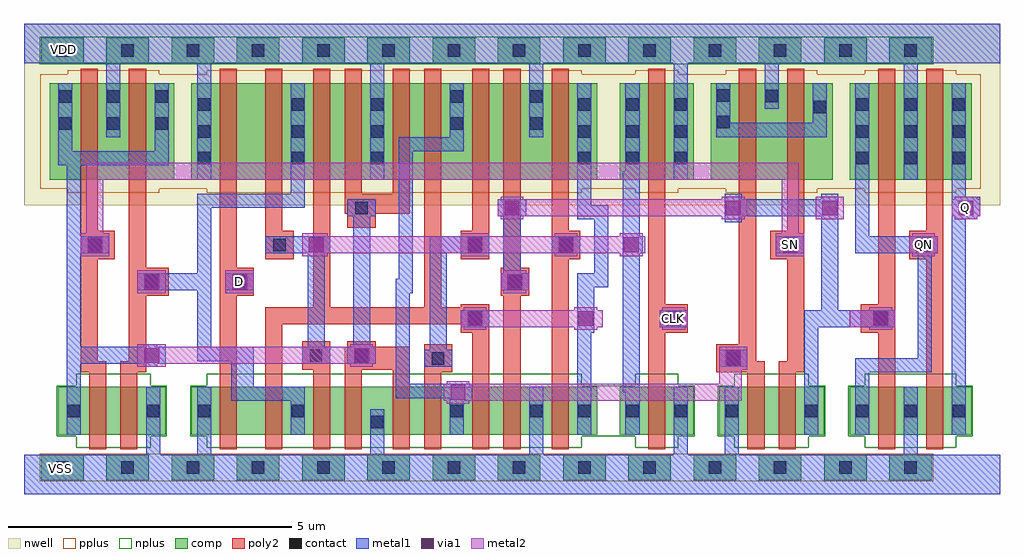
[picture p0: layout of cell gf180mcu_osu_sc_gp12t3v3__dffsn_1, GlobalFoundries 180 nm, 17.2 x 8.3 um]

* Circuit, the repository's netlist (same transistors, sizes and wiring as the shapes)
* Copyright 2022 Google LLC
*
* Licensed under the Apache License, Version 2.0 (the "License");
* you may not use this file except in compliance with the License.
* You may obtain a copy of the License at
*
*      http://www.apache.org/licenses/LICENSE-2.0
*
* Unless required by applicable law or agreed to in writing, software
* distributed under the License is distributed on an "AS IS" BASIS,
* WITHOUT WARRANTIES OR CONDITIONS OF ANY KIND, either express or implied.
* See the License for the specific language governing permissions and
* limitations under the License.

* NGSPICE file created from gf180mcu_osu_sc_gp12t3v3__dffsn_1.ext - technology: gf180mcuC

.subckt gf180mcu_osu_sc_gp12t3v3__dffsn_1 D Q QN CLK SN VDD VSS
X0 a_75_111# D VDD VDD pfet_03p3 w=1.7u l=0.3u
X1 VDD a_147_21# a_242_111# VDD pfet_03p3 w=1.7u l=0.3u
X2 a_242_111# SN VDD VDD pfet_03p3 w=1.7u l=0.3u
X3 VSS SN a_108_21# VSS nfet_03p3 w=0.85u l=0.3u
X4 VSS CLK a_85_83# VSS nfet_03p3 w=0.85u l=0.3u
X5 a_85_16# a_85_83# VSS VSS nfet_03p3 w=0.85u l=0.3u
X6 a_85_16# a_85_83# VDD VDD pfet_03p3 w=1.7u l=0.3u
X7 a_75_21# D VSS VSS nfet_03p3 w=0.85u l=0.3u
X8 VDD a_168_70# a_164_111# VDD pfet_03p3 w=1.7u l=0.3u
X9 Q QN VSS VSS nfet_03p3 w=0.85u l=0.3u
X10 VDD SN SN VDD pfet_03p3 w=1.7u l=0.3u
X11 SN a_34_16# VDD VDD pfet_03p3 w=1.7u l=0.3u
X12 a_147_21# a_85_16# a_136_111# VDD pfet_03p3 w=1.7u l=0.3u
X13 a_164_111# a_85_83# a_147_21# VDD pfet_03p3 w=1.7u l=0.3u
X14 VDD CLK a_85_83# VDD pfet_03p3 w=1.7u l=0.3u
X15 a_261_21# a_147_21# VSS VSS nfet_03p3 w=0.85u l=0.3u
X16 VSS a_168_70# QN VSS nfet_03p3 w=0.85u l=0.3u
X17 a_136_111# SN VDD VDD pfet_03p3 w=1.7u l=0.3u
X18 VDD SN a_108_111# VDD pfet_03p3 w=1.7u l=0.3u
X19 a_136_21# SN VSS VSS nfet_03p3 w=0.85u l=0.3u
X20 a_164_21# a_85_16# a_147_21# VSS nfet_03p3 w=0.85u l=0.3u
X21 a_168_70# SN a_261_21# VSS nfet_03p3 w=0.85u l=0.3u
X22 a_108_111# a_85_16# a_34_16# VDD pfet_03p3 w=1.7u l=0.3u
X23 a_147_21# a_85_83# a_136_21# VSS nfet_03p3 w=0.85u l=0.3u
X24 VSS a_168_70# a_164_21# VSS nfet_03p3 w=0.85u l=0.3u
X25 a_34_16# a_85_83# a_75_111# VDD pfet_03p3 w=1.7u l=0.3u
X26 a_29_21# SN SN VSS nfet_03p3 w=0.85u l=0.3u
X27 a_34_16# a_85_16# a_75_21# VSS nfet_03p3 w=0.85u l=0.3u
X28 VDD a_168_70# QN VDD pfet_03p3 w=1.7u l=0.3u
X29 Q QN VDD VDD pfet_03p3 w=1.7u l=0.3u
X30 VSS a_34_16# a_29_21# VSS nfet_03p3 w=0.85u l=0.3u
X31 a_108_21# a_85_83# a_34_16# VSS nfet_03p3 w=0.85u l=0.3u
.ends

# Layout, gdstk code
import gdstk
lib = gdstk.Library(unit=1e-6, precision=1e-09)
def R(c, l, rs):  # rectangles x0, y0, x1, y1
    for r in rs: c.add(gdstk.rectangle(r[:2], r[2:], *l))
def A(c, l, x, y, w, h, nx, ny, dx, dy):  # array of equal rectangles
    R(c, l, [(x+i*dx, y+j*dy, x+i*dx+w, y+j*dy+h) for i in range(nx) for j in range(ny)])
nwell = (21, 0)
comp = (22, 0)
poly2 = (30, 0)
pplus = (31, 0)
nplus = (32, 0)
contact = (33, 0)
metal1 = (34, 0)
via1 = (35, 0)
metal2 = (36, 0)

gf180mcu_osu_sc_gp12t3v3 = lib.new_cell('gf180mcu_osu_sc_gp12t3v3__dffsn_1')
R(gf180mcu_osu_sc_gp12t3v3, nwell, [(0,5.1,17.2,8.3)])
A(gf180mcu_osu_sc_gp12t3v3, comp, 0.3, 0.25, 0.75, 0.45, 14, 2, 1.15, 7.35)
R(gf180mcu_osu_sc_gp12t3v3, comp, [(0.6,1.05,2.5,1.9), (2.95,1.05,10.1,1.9), (10.5,1.05,11.8,1.9), (12.25,1.05,14.1,1.9), (14.55,1.05,16.7,1.9), (0.45,5.55,2.65,7.25), (2.95,5.55,10.1,7.25), (10.5,5.55,11.8,7.25), (12.1,5.55,14.25,7.25), (14.55,5.55,16.7,7.25)])
R(gf180mcu_osu_sc_gp12t3v3, poly2, [(1.15,0.8,1.45,2.15), (1.7,0.8,2,2.15), (3.45,0.8,3.75,3.5), (4.25,0.8,4.55,3), (5.1,0.8,5.4,2.2), (5.65,0.8,5.95,2.2), (6.5,0.8,6.8,2.2), (7.05,0.8,7.35,2.15), (7.9,0.8,8.2,2.85), (8.45,0.8,8.75,3.5), (9.3,0.8,9.6,4.15), (11,0.8,11.3,2.85), (12.75,0.8,13.05,2.15), (13.3,0.8,13.6,2.15), (15.05,0.8,15.35,2.85), (15.9,0.8,16.2,4.15), (1,2.15,1.45,2.35), (1.7,2.15,2.15,2.35), (7.05,2.15,7.55,2.65), (12.2,2.15,13.05,2.35), (13.3,2.15,13.75,2.35), (4.9,2.2,5.4,2.7), (5.65,2.2,6.8,2.6), (1,2.35,1.3,4.15), (1.85,2.35,2.15,3.5), (12.2,2.35,12.9,2.65), (13.45,2.35,13.75,4.15), (5.7,2.6,6.2,2.7), (12.6,2.65,12.9,7.5), (7.7,2.85,8.2,3), (11,2.85,11.7,3.35), (14.75,2.85,15.35,3.35), (4.25,3,8.2,3.3), (5.1,3.3,5.4,7.5), (7.05,3.3,7.35,7.5), (7.7,3.3,8.2,3.35), (11,3.35,11.3,7.5), (15.05,3.35,15.35,7.5), (1.85,3.5,2.55,4), (3.45,3.5,4.05,4), (8.4,3.5,8.9,4), (1.85,4,2.15,7.5), (3.45,4,3.75,7.5), (8.45,4,8.75,7.5), (1,4.15,1.6,4.65), (4.25,4.15,4.75,4.65), (7.7,4.15,8.2,4.65), (9.3,4.15,9.8,4.65), (13.15,4.15,13.75,4.65), (15.6,4.15,16.2,4.65), (1,4.65,1.3,7.5), (4.25,4.65,4.55,7.5), (7.9,4.65,8.2,7.5), (9.3,4.65,9.6,7.5), (13.45,4.65,13.75,7.5), (15.9,4.65,16.2,7.5), (5.7,4.7,6.2,4.95), (5.65,4.95,6.8,5.3), (5.65,5.3,5.95,7.5), (6.5,5.3,6.8,7.5)])
R(gf180mcu_osu_sc_gp12t3v3, pplus, [(0.28,0.23,16.02,0.72), (0.77,5.32,2.38,5.39), (3.22,5.32,9.83,5.39), (10.77,5.32,11.53,5.39), (12.37,5.32,13.98,5.39), (14.82,5.32,16.43,5.39), (0.29,5.39,16.86,7.41), (0.77,7.41,2.38,7.48), (3.22,7.41,9.83,7.48), (10.77,7.41,11.53,7.48), (12.37,7.41,13.98,7.48), (14.82,7.41,16.43,7.48)])
R(gf180mcu_osu_sc_gp12t3v3, nplus, [(0.92,0.82,2.23,1.03), (3.22,0.82,9.83,1.03), (10.77,0.82,11.53,1.03), (12.52,0.82,13.83,1.03), (14.82,0.82,16.43,1.03), (0.58,1.03,2.52,1.92), (2.93,1.03,11.82,1.92), (12.23,1.03,14.12,1.92), (14.53,1.03,16.72,1.92), (0.92,1.92,2.23,2.13), (3.22,1.92,9.83,2.13), (10.77,1.92,11.53,2.13), (12.52,1.92,13.83,2.13), (14.82,1.92,16.43,2.13), (0.28,7.58,16.02,8.07)])
A(gf180mcu_osu_sc_gp12t3v3, contact, 0.565, 0.365, 0.22, 0.22, 14, 2, 1.15, 7.35)
A(gf180mcu_osu_sc_gp12t3v3, contact, 8.915, 1.365, 0.22, 0.22, 4, 1, 0.85, 0)
A(gf180mcu_osu_sc_gp12t3v3, contact, 14.665, 1.365, 0.22, 0.22, 3, 2, 0.85, 4.455)
A(gf180mcu_osu_sc_gp12t3v3, contact, 3.065, 5.82, 0.22, 0.22, 1, 3, 0, 0.47)
A(gf180mcu_osu_sc_gp12t3v3, contact, 4.715, 5.82, 0.22, 0.22, 1, 3, 0, 0.47)
A(gf180mcu_osu_sc_gp12t3v3, contact, 6.115, 5.82, 0.22, 0.22, 1, 3, 0, 0.47)
A(gf180mcu_osu_sc_gp12t3v3, contact, 9.765, 5.82, 0.22, 0.22, 3, 3, 0.85, 0.47)
A(gf180mcu_osu_sc_gp12t3v3, contact, 14.665, 6.29, 0.22, 0.22, 3, 2, 0.85, 0.47)
A(gf180mcu_osu_sc_gp12t3v3, contact, 0.615, 6.43, 0.22, 0.22, 3, 2, 0.85, 0.47)
R(gf180mcu_osu_sc_gp12t3v3, contact, [(6.115,1.165,6.335,1.385), (0.765,1.365,0.985,1.585), (2.165,1.365,2.385,1.585), (3.065,1.365,3.285,1.585), (4.715,1.365,4.935,1.585), (7.515,1.365,7.735,1.585), (12.365,1.365,12.585,1.585), (13.765,1.365,13.985,1.585), (7.19,2.29,7.41,2.51), (12.39,2.29,12.61,2.51), (5.04,2.34,5.26,2.56), (5.84,2.34,6.06,2.56), (7.84,2.99,8.06,3.21), (11.34,2.99,11.56,3.21), (14.99,2.99,15.21,3.21), (2.14,3.64,2.36,3.86), (3.69,3.64,3.91,3.86), (8.54,3.64,8.76,3.86), (1.14,4.29,1.36,4.51), (4.39,4.29,4.61,4.51), (7.84,4.29,8.06,4.51), (9.44,4.29,9.66,4.51), (13.39,4.29,13.61,4.51), (15.74,4.29,15.96,4.51), (5.84,4.94,6.06,5.16), (7.515,6.43,7.735,6.65), (8.915,6.43,9.135,6.65), (12.215,6.455,12.435,6.675), (13.915,6.715,14.135,6.935), (7.515,6.9,7.735,7.12), (8.915,6.9,9.135,7.12), (13.065,6.915,13.285,7.135), (12.215,6.925,12.435,7.145)])
R(gf180mcu_osu_sc_gp12t3v3, metal1, [(0,0,17.2,0.7), (2.15,0.7,2.4,1.9), (3.05,0.7,3.3,1.9), (6.1,0.7,6.35,1.5), (8.9,0.7,9.15,1.9), (11.45,0.7,11.7,1.9), (12.35,0.7,12.6,1.9), (15.5,0.7,15.75,1.9), (0.75,1.05,1,2.3), (4.7,1.05,4.95,1.65), (7.5,1.05,7.75,1.65), (9.75,1.05,10,2.85), (10.6,1.05,10.85,1.8), (13.75,1.05,14,2.95), (14.65,1.05,14.9,2.15), (16.35,1.05,16.6,4.85), (3.65,1.65,4.95,1.9), (7.5,1.65,7.9,1.7), (6.55,1.7,7.9,1.95), (10.55,1.8,10.85,4.25), (3.65,1.9,4.05,2.35), (6.55,1.95,6.8,3.55), (14.65,2.15,16,2.4), (2.1,2.25,2.35,2.3), (7.05,2.25,7.55,2.55), (12.25,2.25,12.75,2.55), (0.75,2.3,2.5,2.6), (4.9,2.3,5.4,2.6), (5.7,2.3,6.2,2.6), (3.05,2.35,4.05,2.6), (15.75,2.4,16,4.25), (7.15,2.55,7.45,4.25), (0.75,2.6,1,4.25), (2.1,2.6,2.35,2.65), (3.05,2.6,3.3,3.6), (5,2.6,5.3,4.25), (5.8,2.6,6.1,4.9), (9.75,2.85,10.05,3.65), (7.7,2.95,8.2,3.25), (11.2,2.95,11.7,3.25), (13.75,2.95,15.35,3.25), (14.05,3.25,14.35,4.9), (6.55,3.55,6.85,3.8), (2,3.6,3.3,3.9), (3.55,3.6,4.05,3.9), (8.4,3.6,8.9,3.9), (9.75,3.65,10.3,3.9), (6.6,3.8,6.85,6.05), (3.05,3.9,3.3,5.05), (8.45,3.9,8.75,4.9), (10.05,3.9,10.3,4.85), (0.75,4.25,1.5,4.55), (4.25,4.25,5.4,4.55), (7.15,4.25,8.2,4.55), (9.3,4.25,9.8,4.55), (10.55,4.25,10.9,4.55), (13.25,4.25,13.75,4.55), (14.65,4.25,16.1,4.55), (0.75,4.55,1,5.8), (10.55,4.55,10.85,5.7), (14.65,4.55,14.9,7.25), (12.35,4.8,12.65,4.9), (9.75,4.85,10.3,5.1), (16.35,4.85,16.8,4.9), (5.7,4.9,6.2,5.2), (8.35,4.9,8.85,5.2), (12.35,4.9,14.35,5.2), (16.35,4.9,16.85,5.25), (3.05,5.05,4.95,5.3), (9.75,5.1,10,7.25), (12.35,5.2,12.65,5.3), (14.05,5.2,14.35,5.3), (16.35,5.25,16.6,7.25), (4.7,5.3,4.95,7.25), (3.05,5.55,3.3,7.6), (6.1,5.55,6.35,7.6), (11.45,5.55,11.7,7.6), (15.5,5.55,15.75,7.6), (10.6,5.7,10.85,7.25), (0.6,5.8,2.55,6.05), (0.6,6.05,0.85,7.25), (2.3,6.05,2.55,7.25), (6.6,6.05,7.75,6.3), (1.45,6.3,1.7,7.6), (7.5,6.3,7.75,7.25), (8.9,6.3,9.15,7.6), (12.2,6.3,14.15,6.55), (12.2,6.55,12.45,7.25), (13.9,6.55,14.15,7.25), (13.05,6.8,13.3,7.6), (0,7.6,17.2,8.3)])
R(gf180mcu_osu_sc_gp12t3v3, via1, [(7.52,1.67,7.78,1.93), (12.37,2.27,12.63,2.53), (2.12,2.32,2.38,2.58), (5.82,2.32,6.08,2.58), (7.82,2.97,8.08,3.23), (9.77,2.97,10.03,3.23), (11.32,2.97,11.58,3.23), (14.97,2.97,15.23,3.23), (2.12,3.62,2.38,3.88), (3.67,3.62,3.93,3.88), (8.52,3.62,8.78,3.88), (1.12,4.27,1.38,4.53), (5.02,4.27,5.28,4.53), (7.82,4.27,8.08,4.53), (9.42,4.27,9.68,4.53), (10.57,4.27,10.83,4.53), (13.37,4.27,13.63,4.53), (15.72,4.27,15.98,4.53), (8.47,4.92,8.73,5.18), (12.37,4.92,12.63,5.18), (14.07,4.92,14.33,5.18), (16.47,4.92,16.73,5.18)])
R(gf180mcu_osu_sc_gp12t3v3, metal2, [(7.45,1.6,7.85,1.65), (7.4,1.65,12.65,1.95), (7.45,1.95,7.85,2), (12.25,1.95,12.65,2.2), (12.25,2.2,12.75,2.6), (2,2.25,2.5,2.3), (5.75,2.25,6.15,2.3), (2,2.3,6.2,2.6), (2,2.6,2.5,2.65), (5.75,2.6,6.15,2.65), (7.75,2.9,8.15,2.95), (9.7,2.9,10.1,2.95), (11.25,2.9,11.65,2.95), (14.9,2.9,15.3,2.95), (7.7,2.95,10.2,3.25), (11.2,2.95,11.7,3.25), (14.55,2.95,15.35,3.25), (7.75,3.25,8.15,3.3), (9.7,3.25,10.1,3.3), (11.25,3.25,11.65,3.3), (14.9,3.25,15.3,3.3), (2,3.55,2.5,3.95), (3.55,3.55,4.05,3.95), (8.45,3.55,8.85,3.6), (8.4,3.6,8.9,3.9), (8.45,3.9,8.85,3.95), (1,4.2,1.5,4.6), (4.9,4.2,5.35,4.25), (7.7,4.2,8.2,4.25), (9.35,4.2,9.75,4.25), (10.5,4.2,10.9,4.25), (13.25,4.2,13.75,4.6), (15.65,4.2,16.05,4.25), (4.9,4.25,10.95,4.55), (15.6,4.25,16.1,4.55), (4.9,4.55,5.35,4.6), (7.7,4.55,8.2,4.6), (9.35,4.55,9.75,4.6), (10.5,4.55,10.9,4.6), (15.65,4.55,16.05,4.6), (1.1,4.6,1.4,5.55), (13.35,4.6,13.65,5.55), (8.4,4.85,8.8,4.9), (12.3,4.85,12.7,4.9), (13.95,4.85,14.45,5.25), (16.4,4.85,16.8,4.9), (8.35,4.9,12.75,5.2), (16.35,4.9,16.85,5.2), (8.4,5.2,8.8,5.25), (12.3,5.2,12.7,5.25), (16.4,5.2,16.8,5.25), (1.1,5.55,13.65,5.85)])
gf180mcu_osu_sc_gp12t3v3.add(gdstk.Label('D', (3.8,3.75), layer=36, texttype=10))
gf180mcu_osu_sc_gp12t3v3.add(gdstk.Label('Q', (16.6,5.05), layer=36, texttype=10))
gf180mcu_osu_sc_gp12t3v3.add(gdstk.Label('QN', (15.85,4.4), layer=36, texttype=10))
gf180mcu_osu_sc_gp12t3v3.add(gdstk.Label('CLK', (11.45,3.1), layer=36, texttype=10))
gf180mcu_osu_sc_gp12t3v3.add(gdstk.Label('SN', (13.5,4.4), layer=36, texttype=10))
gf180mcu_osu_sc_gp12t3v3.add(gdstk.Label('VDD', (0.7,7.85), layer=34, texttype=10))
gf180mcu_osu_sc_gp12t3v3.add(gdstk.Label('VSS', (0.65,0.45), layer=34, texttype=10))

lib.write_gds('gf180mcu_osu_sc_gp12t3v3__dffsn_1.gds')
